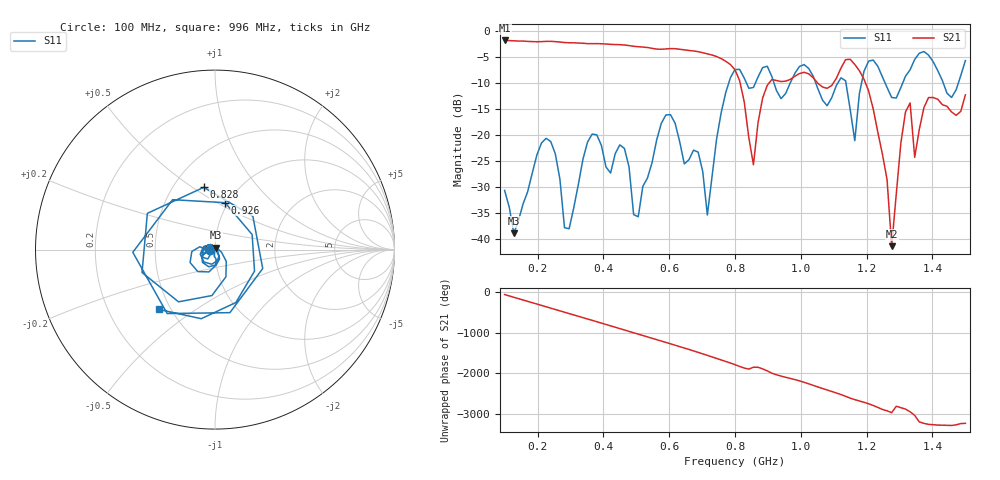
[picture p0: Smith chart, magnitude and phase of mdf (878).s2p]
! NanoVNA-App
! Date: 2025-09-25 15:45:15
! Start: 100MHz Stop: 1,5GHz Points: 101
! S-Parameter data: F S11 S21 S12 S22
# Hz S RI R 50
!  Frequency  S11_Real  S11_Imag  S21_Real  S21_Imag  S12_Real  S12_Imag  S22_Real  S22_Imag
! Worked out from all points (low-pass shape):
!   101 points, 100 MHz to 1.5 GHz, reference 50 ohm
!   highest |S21| = -1.80 dB at 100 MHz (marker M1); lowest = -41.5 dB at 1.276 GHz (marker M2)
!   |S21| within 3 dB of the highest: start of sweep to 739.4 MHz
!   lowest |S11| = -39.0 dB at 128 MHz (marker M3), VSWR 1.02, Z = 50.3 + j1.07 ohm
!   |S11| at or under -10 dB: start of sweep to 781 MHz; 1.045 GHz to 1.113 GHz (67.19 MHz wide, 6.23 % of centre); 1.256 GHz to 1.31 GHz (53.65 MHz wide, 4.18 % of centre) (the widest 3 of 7)
!   S12 and S22 are empty: the file has one direction only
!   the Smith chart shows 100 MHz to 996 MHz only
!   S11 on the Smith chart (normalised r, x): 100 MHz: 0.94, -0.01; 828 MHz: 0.70, +0.55; 926 MHz: 0.97, +0.55; 996 MHz: 0.43, -0.36
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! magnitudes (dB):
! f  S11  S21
! 100 MHz  -30.7  -1.8
! 128 MHz  -39.0  -1.9
! 212 MHz  -21.6  -2.0
! 282 MHz  -37.9  -2.2
! 338 MHz  -24.7  -2.3
! 464 MHz  -22.6  -2.7
! 506 MHz  -35.8  -3.0
! 576 MHz  -17.8  -3.5
! 716 MHz  -35.5  -4.4
! 800 MHz  -7.4  -7.4
! 828 MHz  -9.1  -13.6
! 856 MHz  -10.9  -25.8
! 926 MHz  -11.5  -9.5
! 996 MHz  -6.8  -8.2
! 1.038 GHz  -8.7  -9.0
! 1.136 GHz  -9.6  -5.5
! 1.164 GHz  -21.1  -6.4
! 1.192 GHz  -7.7  -9.3
! 1.276 GHz  -12.8  -41.5
! 1.318 GHz  -8.7  -15.6
! 1.346 GHz  -5.5  -24.3
! 1.5 GHz  -5.7  -12.3
